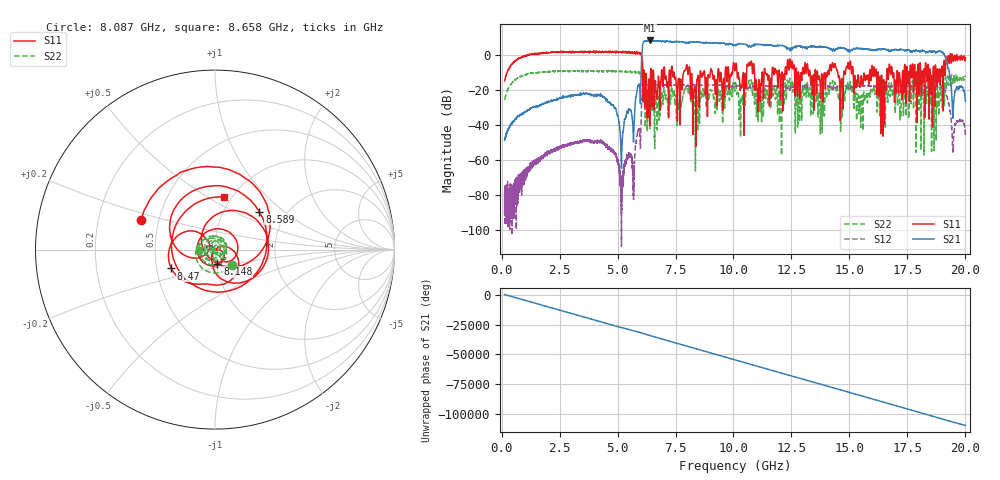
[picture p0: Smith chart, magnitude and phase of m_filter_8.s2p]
!Created with skrf (http://scikit-rf.org).
# GHz S RI R 50.0
!freq ReS11 ImS11 ReS21 ImS21 ReS12 ImS12 ReS22 ImS22
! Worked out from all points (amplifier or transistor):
!   20013 points, 130 MHz to 20 GHz, reference 50 ohm
!   highest |S21| = 8.4 dB at 6.38 GHz (marker M1)
!   |S21| within 3 dB of that: 6.079 GHz to 10 GHz (3.923 GHz wide, 48.8 % of centre)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
!   unconditionally stable (mu >= 1): start of sweep to 1.065 GHz; 6.024 GHz to 19.34 GHz; 19.63 GHz to end of sweep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
!   at 3.465 GHz: K = -956.02, MSG = 13.5 dB, |S12| = -49.3 dB
!   at 10.14 GHz: K = 1.69, MAG = 7.1 dB, |S12| = -17.8 dB
!   at 20 GHz: K = 545.73, MAG = -20.8 dB, |S12| = -45.6 dB
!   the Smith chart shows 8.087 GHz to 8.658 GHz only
!   S11 on the Smith chart (normalised r, x): 8.087 GHz: 0.40, +0.16; 8.148 GHz: 1.01, -0.16; 8.47 GHz: 0.60, -0.13; 8.589 GHz: 1.46, +0.69; 8.658 GHz: 0.92, +0.59
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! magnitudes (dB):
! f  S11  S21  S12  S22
! 130 MHz  -14.7  -48.7  -82.1  -25.5
! 3.442 GHz  2.0  -22.7  -49.7  -9.4
! 4.822 GHz  1.7  -28.7  -54.8  -9.5
! 5.184 GHz  1.4  -54.8  -77.7  -9.5
! 5.703 GHz  1.1  -43.2  -67.0  -10.1
! 6.129 GHz  -9.4  7.5  -17.8  -22.7
! 6.38 GHz  -27.4  8.4  -16.9  -28.8
! 6.754 GHz  -13.1  8.0  -17.0  -23.9
! 8.087 GHz  -7.1  6.7  -17.7  -17.9
! 8.148 GHz  -21.9  7.4  -17.0  -25.7
! 8.47 GHz  -11.5  7.3  -17.2  -26.0
! 8.589 GHz  -9.7  7.2  -17.1  -21.0
! 8.658 GHz  -10.6  7.2  -17.2  -21.0
! 10.06 GHz  -8.0  5.9  -17.9  -19.4
! 10.79 GHz  -5.4  5.4  -18.3  -17.9
! 11.08 GHz  -15.3  5.9  -17.4  -22.2
! 12.42 GHz  -2.8  3.3  -19.4  -13.5
! 13.38 GHz  -12.6  4.8  -17.2  -21.3
! 16.69 GHz  -10.0  2.7  -18.1  -17.3
! 19 GHz  -10.0  1.6  -17.8  -28.6
! 19.46 GHz  -1.8  -35.3  -54.3  -14.8
! 20 GHz  -1.5  -26.5  -45.6  -12.4
